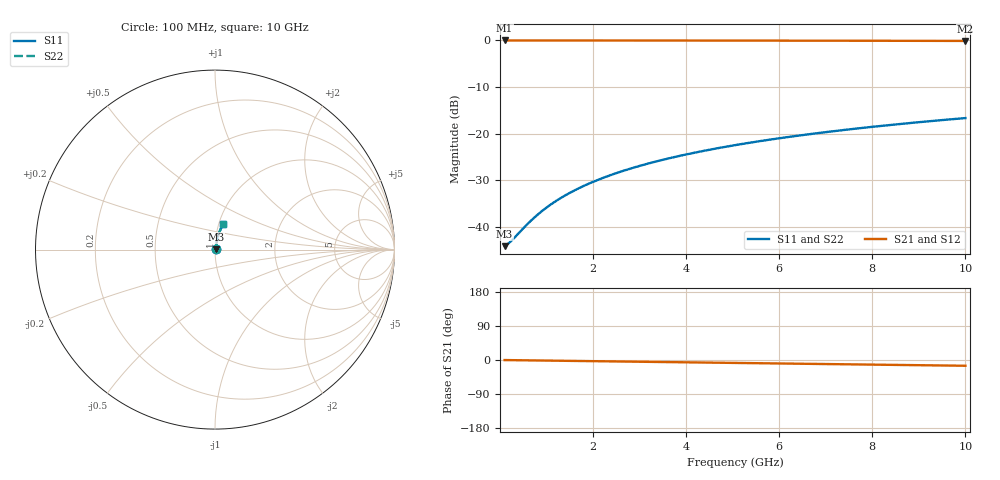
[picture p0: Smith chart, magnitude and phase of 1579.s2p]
# Hz S RI R 50.00
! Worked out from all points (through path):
!   100 points, 100 MHz to 10 GHz, reference 50 ohm
!   highest |S21| = -0.05 dB at 100 MHz (marker M1); lowest = -0.2 dB at 10 GHz (marker M2)
!   group delay of S21, straight-line fit = 4.23 ps
!   lowest |S11| = -44.1 dB at 100 MHz (marker M3), VSWR 1.01, Z = 50.6 + j0.15 ohm
!   |S11| at or under -10 dB: start of sweep to end of sweep
!   |S22| runs from -44.1 to -16.7 dB; largest |S21 - S12| = 0
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1e8  0.0061 0.00148  0.9939 -0.00265  0.9939 -0.00265  0.0061 0.00148
2e8  0.00615 0.00296  0.9938 -0.00531  0.9938 -0.00531  0.00615 0.00296
3e8  0.0062 0.00444  0.9938 -0.00796  0.9938 -0.00796  0.0062 0.00444
6e8  0.00636 0.00887  0.9936 -0.0159  0.9936 -0.0159  0.00636 0.00887
7e8  0.00643 0.0104  0.9935 -0.0186  0.9935 -0.0186  0.00643 0.0104
8e8  0.00651 0.0118  0.9934 -0.0212  0.9934 -0.0212  0.00651 0.0118
1e9  0.00667 0.0148  0.9932 -0.0265  0.9932 -0.0265  0.00667 0.0148
1.2e9  0.00687 0.0177  0.993 -0.0318  0.993 -0.0318  0.00687 0.0177
1.4e9  0.0071 0.0207  0.9928 -0.0371  0.9928 -0.0371  0.0071 0.0207
1.6e9  0.00735 0.0236  0.9925 -0.0424  0.9925 -0.0424  0.00735 0.0236
1.8e9  0.00764 0.0266  0.9921 -0.0477  0.9921 -0.0477  0.00764 0.0266
2.1e9  0.00812 0.031  0.9915 -0.0556  0.9915 -0.0556  0.00812 0.031
2.5e9  0.00888 0.0368  0.9907 -0.0662  0.9907 -0.0662  0.00888 0.0368
2.9e9  0.00975 0.0427  0.9896 -0.0767  0.9896 -0.0767  0.00975 0.0427
3.4e9  0.011 0.0499  0.9881 -0.0899  0.9881 -0.0899  0.011 0.0499
4.2e9  0.0134 0.0615  0.9853 -0.1108  0.9853 -0.1108  0.0134 0.0615
5.1e9  0.0167 0.0743  0.9814 -0.1342  0.9814 -0.1342  0.0167 0.0743
5.9e9  0.0202 0.0856  0.9773 -0.1549  0.9773 -0.1549  0.0202 0.0856
6.7e9  0.0241 0.0966  0.9727 -0.1754  0.9727 -0.1754  0.0241 0.0966
7.5e9  0.0285 0.1075  0.9676 -0.1957  0.9676 -0.1957  0.0285 0.1075
8.4e9  0.0339 0.1195  0.9611 -0.2183  0.9611 -0.2183  0.0339 0.1195
1e10  0.0449 0.1399  0.948 -0.2576  0.948 -0.2576  0.0449 0.1399
